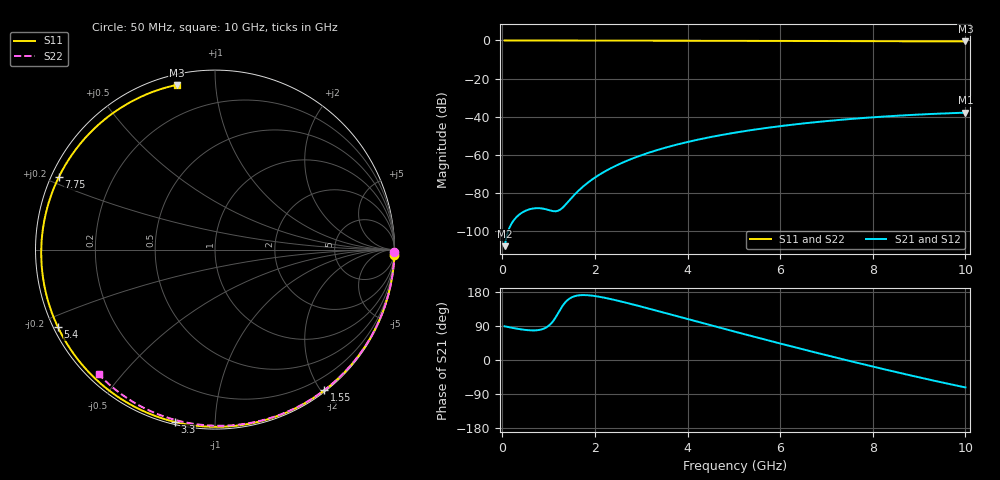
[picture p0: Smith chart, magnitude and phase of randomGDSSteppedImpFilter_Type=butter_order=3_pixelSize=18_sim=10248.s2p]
! freq	dB(S11)	phase(S11)	dB(S12)	phase(S12)
!  dB(S21)	phase(S21)	dB(S22)	phase(S22)
!S-par simulation data
#  GHz  S  DB  R 50
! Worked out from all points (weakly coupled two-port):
!   200 points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, 50 MHz to 10 GHz, reference 50 ohm
!   highest |S21| = -37.80 dB at 10 GHz (marker M1); lowest = -107.7 dB at 50 MHz (marker M2)
!   lowest |S11| = -0.5 dB at 10 GHz (marker M3), VSWR 33.66, Z = 2.42 + j39.6 ohm
!   |S11| at or under -10 dB: nowhere
!   |S22| runs from -0.4 to 0.0 dB; largest |S21 - S12| = 0
!   S11 on the Smith chart (normalised r, x): 50 MHz: 0, -65; 1.55 GHz: 0.02, -2.04; 3.3 GHz: 0.01, -0.79; 5.4 GHz: 0.01, -0.23; 7.75 GHz: 0.02, +0.22; 10 GHz: 0.05, +0.79
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0.05  -0.00 -1.8  -107.69 89.0  -107.69 89.0  -0.00 -0.8
0.4  -0.02 -13.8  -90.54 81.0  -90.54 81.0  -0.01 -6.1
0.75  -0.03 -25.8  -87.79 78.5  -87.79 78.5  -0.01 -11.5
1.15  -0.05 -39.2  -89.43 112.1  -89.43 112.1  -0.02 -17.5
1.55  -0.06 -52.2  -80.98 167.9  -80.98 167.9  -0.03 -23.5
1.6  -0.07 -53.8  -79.73 169.6  -79.73 169.6  -0.03 -24.3
1.75  -0.07 -58.5  -76.36 171.3  -76.36 171.3  -0.03 -26.5
2.05  -0.08 -67.7  -70.97 167.8  -70.97 167.8  -0.04 -31.0
2.4  -0.09 -78.1  -66.19 159.2  -66.19 159.2  -0.05 -36.1
2.8  -0.11 -89.6  -61.91 147.2  -61.91 147.2  -0.05 -41.9
3.3  -0.12 -103.2  -57.70 131.2  -57.70 131.2  -0.06 -49.1
3.4  -0.13 -105.8  -56.97 127.9  -56.97 127.9  -0.07 -50.5
4.25  -0.16 -127.2  -51.80 99.9  -51.80 99.9  -0.09 -62.3
5.05  -0.19 -145.9  -48.16 73.8  -48.16 73.8  -0.11 -73.1
5.4  -0.21 -153.8  -46.84 62.6  -46.84 62.6  -0.12 -77.7
6.05  -0.25 -168.1  -44.71 42.0  -44.71 42.0  -0.15 -86.0
6.7  -0.29 177.9  -42.93 21.8  -42.93 21.8  -0.18 -94.1
7.2  -0.32 167.1  -41.77 6.5  -41.77 6.5  -0.21 -100.3
7.75  -0.36 155.1  -40.67 -9.9  -40.67 -9.9  -0.24 -106.9
8.35  -0.40 141.8  -39.66 -27.4  -39.66 -27.4  -0.29 -113.9
9.2  -0.46 122.3  -38.55 -51.3  -38.55 -51.3  -0.36 -123.8
10  -0.52 103.1  -37.80 -72.4  -37.80 -72.4  -0.45 -132.9
